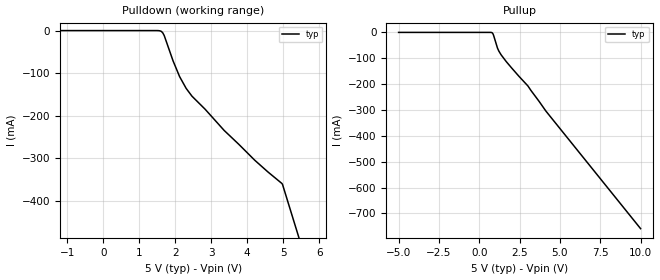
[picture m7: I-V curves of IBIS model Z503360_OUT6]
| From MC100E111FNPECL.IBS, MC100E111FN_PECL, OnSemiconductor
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| (C) COPYRIGHT 1993-2000
| MENTOR GRAPHICS CORPORATION
| ICX STANDARD LIBRARY, ICX PROJECT MODELING,
| ICX CUSTOM MODELING, ICX VENDOR MODEL
| ALL RIGHTS RESERVED.
| THE FOLLOWING ARE TRADEMARKS OR SERVICE MARKS OF
| MENTOR GRAPHICS CORPORATION:ICX (R), ICX STANDARD
| LIBRARY(R), ICX PROJECT MODELING(R), ICX CUSTOM
| MODELING(R), qualityIBIS(TM), MODELVIEWER(TM),
| AND MODELEDITOR(TM)
| ALL COPIES OF SOFTWARE, INCLUDING BUT NOT LIMITED TO
| ANY MODIFICATIONS, ENHANCEMENTS OR DERIVATIVE WORKS,
| MUST CONTAIN ALL MENTOR GRAPHICS CORPORATION'S
| NOTICES AND LEGENDS, INCLUDING THOSE EMBEDDED IN
| SOFTWARE AND THOSE AFFIXED TO SOFTWARE MEDIUM
| AND CONTAINER, AS RECEIVED FROM MENTOR GRAPHICS
| CORPORATION.
| Model Application Version 1.89 2/18/99.
[Model] Z503360_OUT6
Model_type Output_ECL
Vref=3.000V
Rref=50.00ohms
Cref=0.000F
Vmeas=3.677V
C_comp 8.000pF NA NA
| variable typ   min   max
[Voltage Range] 5.000V NA NA
[POWER Clamp Reference] 5.000V NA NA
[Pullup Reference] 5.000V NA NA
[Pulldown Reference] 5.000V NA NA
[GND Clamp Reference] 0.000V NA NA
[GND Clamp]
-5V       0A         NA         NA
10V       0A         NA         NA
[Pulldown]
-5V       0A         NA         NA
1.572V    -600uA     NA         NA
1.654V    -5.5mA     NA         NA
1.694V    -11.9mA    NA         NA
1.938V    -71mA      NA         NA
2.12V     -108mA     NA         NA
2.303V    -135.8mA   NA         NA
2.465V    -154.1mA   NA         NA
3.358V    -234.4mA   NA         NA
4.21V     -304.5mA   NA         NA
4.981V    -361.1mA   NA         NA
10V       -1.738A    NA         NA
[Pullup]
-5V       0A         NA         NA
807mV     -1.9mA     NA         NA
888mV     -11.4mA    NA         NA
1.131V    -61mA      NA         NA
1.354V    -86.7mA    NA         NA
2.024V    -138.8mA   NA         NA
3.018V    -207.3mA   NA         NA
4.134V    -304.6mA   NA         NA
10V       -759mA     NA         NA
[POWER Clamp]
-5V       0A         NA         NA
10V       0A         NA         NA
[Ramp]
| variable typ min max
dV/dt_r 476.4m/195.0p NA NA
dV/dt_f 476.4m/222.6p NA NA
R_load = 500.0Ohms
